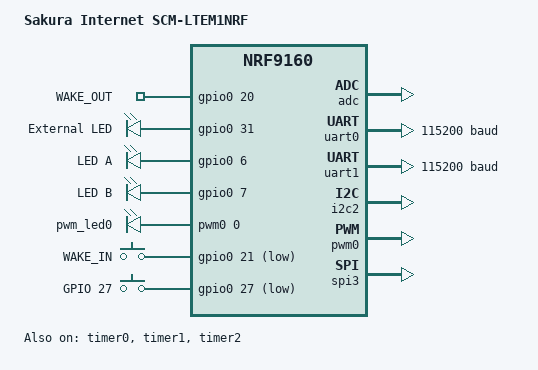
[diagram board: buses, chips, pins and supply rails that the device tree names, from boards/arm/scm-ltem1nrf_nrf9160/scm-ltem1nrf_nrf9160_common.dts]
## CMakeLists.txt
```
# SPDX-License-Identifier: Apache-2.0

cmake_minimum_required(VERSION 3.20.0)

set(BOARD_ROOT ${CMAKE_SOURCE_DIR})

find_package(Zephyr REQUIRED HINTS $ENV{ZEPHYR_BASE})
project(blinky)

target_sources(app PRIVATE
    src/main.c
)
```

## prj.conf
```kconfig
CONFIG_NEWLIB_LIBC=y
CONFIG_NEWLIB_LIBC_FLOAT_PRINTF=y

CONFIG_NETWORKING=y
CONFIG_NET_SOCKETS=y
CONFIG_NET_SOCKETS_POSIX_NAMES=y
CONFIG_NET_NATIVE=n

CONFIG_HEAP_MEM_POOL_SIZE=4096
CONFIG_MAIN_STACK_SIZE=8192

CONFIG_MODEM_KEY_MGMT=y
CONFIG_LTE_LINK_CONTROL=y
CONFIG_LTE_AUTO_INIT_AND_CONNECT=n

CONFIG_PDN=y
#LTE Connection prameter.
CONFIG_LTE_NETWORK_TIMEOUT=60
CONFIG_LTE_NETWORK_USE_FALLBACK=y

CONFIG_NRF_MODEM_LIB=y
CONFIG_NRF_MODEM_LIB_SYS_INIT=n

CONFIG_UART_INTERRUPT_DRIVEN=y

## Modem Info
CONFIG_MODEM_INFO=y
# Reboot
CONFIG_REBOOT=y
# Application Upgrade support
CONFIG_BOOTLOADER_MCUBOOT=y
# FOTA library
CONFIG_FOTA_DOWNLOAD=y
CONFIG_FOTA_DOWNLOAD_PROGRESS_EVT=y
# Download client
CONFIG_DOWNLOAD_CLIENT=y
CONFIG_DOWNLOAD_CLIENT_STACK_SIZE=4096
CONFIG_DOWNLOAD_CLIENT_MAX_HOSTNAME_SIZE=255
# DFU Target
CONFIG_DFU_TARGET=y
# Image manager
CONFIG_IMG_MANAGER=y
CONFIG_FLASH=y
CONFIG_IMG_ERASE_PROGRESSIVELY=y

# HTTP
CONFIG_HTTP_CLIENT=y
CONFIG_BASE64=y

CONFIG_LOG=y
CONFIG_LOG_BACKEND_RTT=y
CONFIG_USE_SEGGER_RTT=y

CONFIG_LOG_DEFAULT_LEVEL=4

CONFIG_PWM=y
CONFIG_LED=y
CONFIG_LED_PWM=y
```

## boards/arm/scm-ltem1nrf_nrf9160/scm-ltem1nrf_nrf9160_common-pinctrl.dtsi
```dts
/*
 * Copyright (c) 2022 Nordic Semiconductor
 * SPDX-License-Identifier: Apache-2.0
 */

&pinctrl {
	uart0_default: uart0_default {
		group1 {
			psels = <NRF_PSEL(UART_TX, 0, 23)>,
				<NRF_PSEL(UART_RTS, 0, 25)>;
		};
		group2 {
			psels = <NRF_PSEL(UART_RX, 0, 22)>,
				<NRF_PSEL(UART_CTS, 0, 24)>;
			bias-pull-up;
		};
	};

	uart0_sleep: uart0_sleep {
		group1 {
			psels = <NRF_PSEL(UART_TX, 0, 23)>,
				<NRF_PSEL(UART_RX, 0, 22)>,
				<NRF_PSEL(UART_RTS, 0, 25)>,
				<NRF_PSEL(UART_CTS, 0, 24)>;
			low-power-enable;
		};
	};
	
	uart1_default: uart1_default {
		group1 {
			psels = <NRF_PSEL(UART_TX, 0, 28)>;
		};
		group2 {
			psels = <NRF_PSEL(UART_RX, 0, 26)>;
			bias-pull-up;
		};
	};

	uart1_sleep: uart1_sleep {
		group1 {
			psels = <NRF_PSEL(UART_TX, 0, 28)>,
				<NRF_PSEL(UART_RX, 0, 26)>;
			low-power-enable;
		};
	};

	i2c2_default: i2c2_default {
		group1 {
			psels = <NRF_PSEL(TWIM_SDA, 0, 29)>,
				<NRF_PSEL(TWIM_SCL, 0, 30)>;
		};
	};

	i2c2_sleep: i2c2_sleep {
		group1 {
			psels = <NRF_PSEL(TWIM_SDA, 0, 29)>,
				<NRF_PSEL(TWIM_SCL, 0, 30)>;
			low-power-enable;
		};
	};

	pwm0_default: pwm0_default {
		group1 {
			psels = <NRF_PSEL(PWM_OUT0, 0, 6)>,
				<NRF_PSEL(PWM_OUT1, 0, 7)>,
				<NRF_PSEL(PWM_OUT2, 0, 31)>;
		};
	};

	pwm0_sleep: pwm0_sleep {
		group1 {
			psels = <NRF_PSEL(PWM_OUT0, 0, 6)>,
				<NRF_PSEL(PWM_OUT1, 0, 7)>,
				<NRF_PSEL(PWM_OUT2, 0, 31)>;
			low-power-enable;
		};
	};

	spi3_default: spi3_default {
		group1 {
			psels = <NRF_PSEL(SPIM_SCK, 0, 3)>,
				<NRF_PSEL(SPIM_MISO, 0, 2)>,
				<NRF_PSEL(SPIM_MOSI, 0, 1)>;
		};
	};

	spi3_sleep: spi3_sleep {
		group1 {
			psels = <NRF_PSEL(SPIM_SCK, 0, 3)>,
				<NRF_PSEL(SPIM_MISO, 0, 2)>,
				<NRF_PSEL(SPIM_MOSI, 0, 1)>;
			low-power-enable;
		};
	};
};
```

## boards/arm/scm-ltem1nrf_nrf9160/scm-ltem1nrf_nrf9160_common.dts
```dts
/*
 * Copyright (c) 2018-2020 Nordic Semiconductor ASA
 *
 * SPDX-License-Identifier: Apache-2.0
 */
#include "scm-ltem1nrf_nrf9160_common-pinctrl.dtsi"

/ {
	model = "Sakura Internet SCM-LTEM1NRF";
	compatible = "nordic,nrf9160-dk-nrf9160";

	chosen {
		zephyr,console = &uart0;
		zephyr,shell-uart = &uart0;
		zephyr,uart-mcumgr = &uart0;
	};

	leds {
		compatible = "gpio-leds";
		led0: led_0 {
			gpios = <&gpio0 20 0>;
			label = "WAKE_OUT";
		};
		led1: led_1 {
			gpios = <&gpio0 31 0>;
			label = "External LED";
		};
		led2: led_2 {
			gpios = <&gpio0 6 0>;
			label = "LED A";
		};
		led3: led_3 {
			gpios = <&gpio0 7 0>;
			label = "LED B";
		};
	};

	pwmleds {
		compatible = "pwm-leds";
		pwm_led0: pwm_led_0 {
			pwms = <&pwm0 0 PWM_MSEC(20) PWM_POLARITY_NORMAL>;
		};
	};

	buttons {
		compatible = "gpio-keys";
		button0: button_0 {
			gpios = <&gpio0 21 (GPIO_PULL_UP | GPIO_ACTIVE_LOW)>;
			label = "WAKE_IN";
		};
		button1: button_1 {
			gpios = <&gpio0 27 (GPIO_PULL_UP | GPIO_ACTIVE_LOW)>;
			label = "GPIO 27";
		};
	};

	/* These aliases are provided for compatibility with samples */
	aliases {
		led0 = &led0;
		led1 = &led1;
		led2 = &led2;
		led3 = &led3;
		pwm-led0 = &pwm_led0;
		sw0 = &button0;
		sw1 = &button1;
		bootloader-led0 = &led0;
		mcuboot-button0 = &button0;
		mcuboot-led0 = &led2;
		watchdog0 = &wdt0;
	};
};

&adc {
	status = "okay";
};

&gpiote {
	status = "okay";
};

&gpio0 {
	status = "okay";
};

&uart0 {
	status = "okay";
	current-speed = <115200>;
	pinctrl-0 = <&uart0_default>;
	pinctrl-1 = <&uart0_sleep>;
	pinctrl-names = "default", "sleep";
};

&uart1 {
	status = "okay";
	current-speed = <115200>;
	pinctrl-0 = <&uart1_default>;
	pinctrl-1 = <&uart1_sleep>;
	pinctrl-names = "default", "sleep";
};

&i2c2 {
	compatible = "nordic,nrf-twim";
	status = "okay";
	pinctrl-0 = <&i2c2_default>;
	pinctrl-1 = <&i2c2_sleep>;
	pinctrl-names = "default", "sleep";
};

&pwm0 {
	status = "okay";
	pinctrl-0 = <&pwm0_default>;
	pinctrl-1 = <&pwm0_sleep>;
	pinctrl-names = "default", "sleep";
};

&spi3 {
	compatible = "nordic,nrf-spim";
	status = "okay";
	cs-gpios = <&gpio0 4 GPIO_ACTIVE_LOW>;
	pinctrl-0 = <&spi3_default>;
	pinctrl-1 = <&spi3_sleep>;
	pinctrl-names = "default", "sleep";
};

&timer0 {
	status = "okay";
};

&timer1 {
	status = "okay";
};

&timer2 {
	status = "okay";
};

&flash0 {

	partitions {
		compatible = "fixed-partitions";
		#address-cells = <1>;
		#size-cells = <1>;

		boot_partition: partition@0 {
			label = "mcuboot";
			reg = <0x00000000 0x10000>;
		};
		slot0_partition: partition@10000 {
			label = "image-0";
		};
		slot0_ns_partition: partition@40000 {
			label = "image-0-nonsecure";
		};
		slot1_partition: partition@80000 {
			label = "image-1";
		};
		slot1_ns_partition: partition@b0000 {
			label = "image-1-nonsecure";
		};
		scratch_partition: partition@f0000 {
			label = "image-scratch";
			reg = <0x000f0000 0xa000>;
		};
		storage_partition: partition@fa000 {
			label = "storage";
			reg = <0x000fa000 0x00006000>;
		};
	};
};

/ {

	reserved-memory {
		#address-cells = <1>;
		#size-cells = <1>;
		ranges;

		sram0_s: image_s@20000000 {
			/* Secure image memory */
		};

		sram0_modem: image_modem@20016000 {
			/* Modem (shared) memory */
		};

		sram0_ns: image_ns@20020000 {
			/* Non-Secure image memory */
		};
	};
};

/* Include partition configuration file */
#include "scm-ltem1nrf_nrf9160_partition_conf.dts"
```

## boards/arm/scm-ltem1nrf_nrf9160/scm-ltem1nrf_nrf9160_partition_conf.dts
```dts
/*
 * Copyright (c) 2018-2020 Nordic Semiconductor ASA
 *
 * SPDX-License-Identifier: Apache-2.0
 */

/*
 * Default Flash planning for scm-ltem1nrf_nrf9160.
 *
 * Zephyr build for nRF9160 with ARM TrustZone-M support,
 * implies building Secure and Non-Secure Zephyr images.
 *
 * Secure image will be placed, by default, in flash0
 * (or in slot0, if MCUboot is present).
 * Secure image will use sram0 for system memory.
 *
 * Non-Secure image will be placed in slot0_ns, and use
 * sram0_ns for system memory.
 *
 * Note that the Secure image only requires knowledge of
 * the beginning of the Non-Secure image (not its size).
 */

&slot0_partition {
	reg = <0x00010000 0x30000>;
};

&slot0_ns_partition {
	reg = <0x00040000 0x40000>;
};

&slot1_partition {
	reg = <0x00080000 0x30000>;
};

&slot1_ns_partition {
	reg = <0x000b0000 0x40000>;
};

/* Default SRAM planning when building for nRF9160 with
 * ARM TrustZone-M support
 * - Lowest 88 kB SRAM allocated to Secure image (sram0_s).
 * - 40 kB SRAM reserved for and used by the modem library
 *   (sram0_modem). This memory is Non-Secure.
 * - Upper 128 kB allocated to Non-Secure image (sram0_ns).
 *   When building with TF-M, both sram0_modem and sram0_ns
 *   are allocated to the Non-Secure image.
 */

&sram0_s {
	reg = <0x20000000 DT_SIZE_K(88)>;
};

&sram0_modem {
	reg = <0x20016000 DT_SIZE_K(40)>;
};

&sram0_ns {
	reg = <0x20020000 DT_SIZE_K(128)>;
};
```

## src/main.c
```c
/*
 * Copyright (c) 2016 Intel Corporation
 *
 * SPDX-License-Identifier: Apache-2.0
 */

#include <zephyr/kernel.h>
#include <zephyr/device.h>
#include <zephyr/devicetree.h>
#include <zephyr/drivers/led.h>

#include <zephyr/logging/log.h>
LOG_MODULE_REGISTER(main, CONFIG_LOG_DEFAULT_LEVEL);

/* The devicetree node identifier for the "led0" alias. */
#if DT_NODE_HAS_STATUS(DT_INST(0, pwm_leds), okay)
#define LED_PWM_NODE_ID		DT_INST(0, pwm_leds)
#define LED_PWM_DEV_NAME	DEVICE_DT_NAME(LED_PWM_NODE_ID)
#else
#error "No LED PWM device found"
#endif

#define LED_PWM_LABEL(led_node_id) DT_PROP_OR(led_node_id, label, NULL),

const char *led_label[] = {
	DT_FOREACH_CHILD(LED_PWM_NODE_ID, LED_PWM_LABEL)
};

const int num_leds = ARRAY_SIZE(led_label);

#define LED_PTN_TICK_PAR_MS		(10)
#define LED_PTN_TICK_MAX		(200)
#define LED_PTN_TICK_TERM		(255)
typedef struct {
	uint8_t tick;
	uint8_t brightness;
} led_ptn;

led_ptn led_a_ptn[] = {
	{0, 0,},
	{10, 10},
	{20, 20},
	{30, 30},
	{40, 40},
	{50, 50},
	{60, 40},
	{70, 30},
	{80, 20},
	{90, 10},
	{100, 0},
	{LED_PTN_TICK_TERM, 0}
};

int main(void)
{
	const struct device *dev;

	dev = device_get_binding(LED_PWM_DEV_NAME);
	if (dev == NULL) {
		LOG_ERR("device_get_binding() failed.");
		return -1;
	}

	led_set_brightness(dev, 0, 50);

	int led_tick = 0;
	led_ptn *next_ptn = led_a_ptn;
	while (1) {
		if (next_ptn->tick == LED_PTN_TICK_TERM) {
			next_ptn = led_a_ptn;
		}

		if (next_ptn->tick == led_tick) {
			led_set_brightness(dev, 0, next_ptn->brightness);
			next_ptn++;
		}
		
		led_tick = (led_tick + 1) % LED_PTN_TICK_MAX;
		k_sleep(K_MSEC(LED_PTN_TICK_PAR_MS));
	}
}
```
